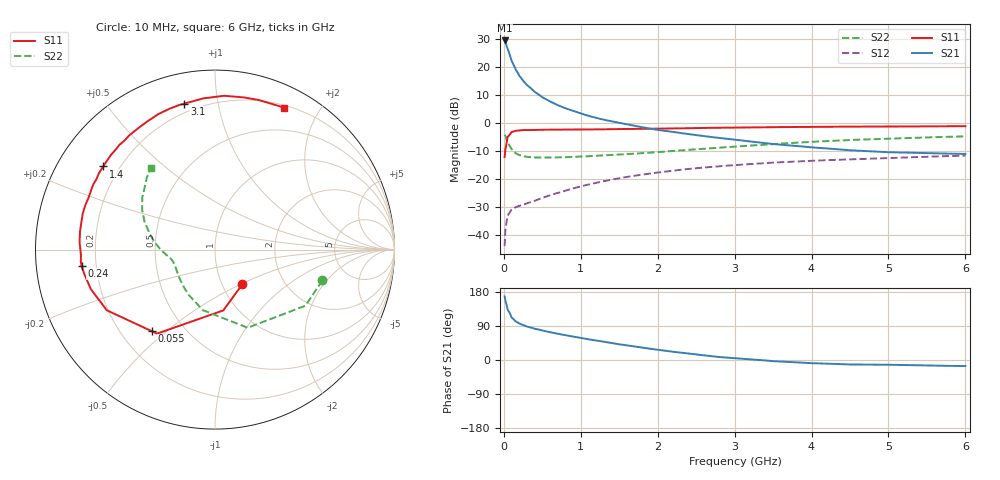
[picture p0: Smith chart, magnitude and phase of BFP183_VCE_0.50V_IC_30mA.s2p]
! Infineon Technologies  Discrete & RF Semiconductors
! BFP183
! VCE = 0.50V,  IC =  30 mA
! Common Emitter S-Parameters:  Jan 2016
# GHz  S  MA  R  50
!  f  S11  S21  S12  S22
! GHz  MAG  ANG  MAG  ANG  MAG  ANG  MAG  ANG
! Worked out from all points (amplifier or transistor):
!   210 points, 10 MHz to 6 GHz, reference 50 ohm
!   highest |S21| = 29.6 dB at 10 MHz (marker M1)
!   |S21| within 3 dB of that: start of sweep to 49.74 MHz
!   unconditionally stable (mu >= 1): start of sweep to 16.47 MHz; 215.2 MHz to end of sweep
!   at 185 MHz: K = 0.90, MSG = 23.8 dB, |S12| = -29.9 dB
!   at 1.52 GHz: K = 1.93, MAG = 4.3 dB, |S12| = -19.7 dB
!   at 6 GHz: K = 1.53, MAG = -4.0 dB, |S12| = -11.7 dB
!   S11 on the Smith chart (normalised r, x): 10 MHz: 1.25, -0.51; 55 MHz: 0.33, -0.45; 240 MHz: 0.14, -0.06; 1.4 GHz: 0.14, +0.33; 3.1 GHz: 0.15, +0.80; 6 GHz: 0.23, +1.58
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0.01  0.2457 -51.5  30.27 167.9  0.0062 72.8  0.6225 -16.0
0.02  0.3419 -82.2  28.67 156.9  0.0121 65.0  0.593 -31.8
0.05  0.5688 -124.6  21.39 132.0  0.0219 48.9  0.472 -67.3
0.055  0.5748 -127.6  20.49 130.7  0.0225 47.3  0.4537 -69.7
0.1  0.691 -150.7  13.18 112.1  0.0281 35.9  0.344 -101.3
0.15  0.7258 -162.3  9.317 102.3  0.0308 33.2  0.2915 -120.4
0.2  0.7403 -169.2  7.108 96.3  0.0327 34.2  0.2677 -132.1
0.24  0.749 -173.1  6.005 92.9  0.0339 35.1  0.2575 -138.6
0.26  0.7506 -174.8  5.547 91.2  0.0347 35.9  0.2539 -141.4
0.3  0.7476 -177.8  4.812 88.3  0.0365 38.1  0.2483 -146.1
0.4  0.7556 176.9  3.639 82.6  0.0403 41.4  0.2416 -153.1
0.5  0.759 172.2  2.898 77.7  0.0455 44.4  0.2401 -157.8
0.6  0.7594 168.4  2.44 73.3  0.051 47.0  0.2413 -161.1
0.7  0.7637 164.9  2.095 69.3  0.0556 49.0  0.2425 -163.5
0.8  0.7638 161.2  1.843 65.4  0.0614 50.2  0.244 -165.1
1.02  0.7655 154.4  1.454 57.5  0.0743 51.1  0.2513 -168.4
1.4  0.7756 143.3  1.074 45.0  0.0966 50.1  0.2693 -172.9
2.02  0.7958 126.6  0.748 26.5  0.1308 44.6  0.3026 180.0
3.1  0.8312 101.8  0.484 3.4  0.18 31.7  0.3856 164.2
4.1  0.8583 85.2  0.359 -9.0  0.2135 20.4  0.4685 150.0
5.1  0.8685 72.7  0.298 -12.9  0.2387 10.9  0.5294 137.3
6  0.8798 64.0  0.279 -16.0  0.2604 1.5  0.5774 128.1
